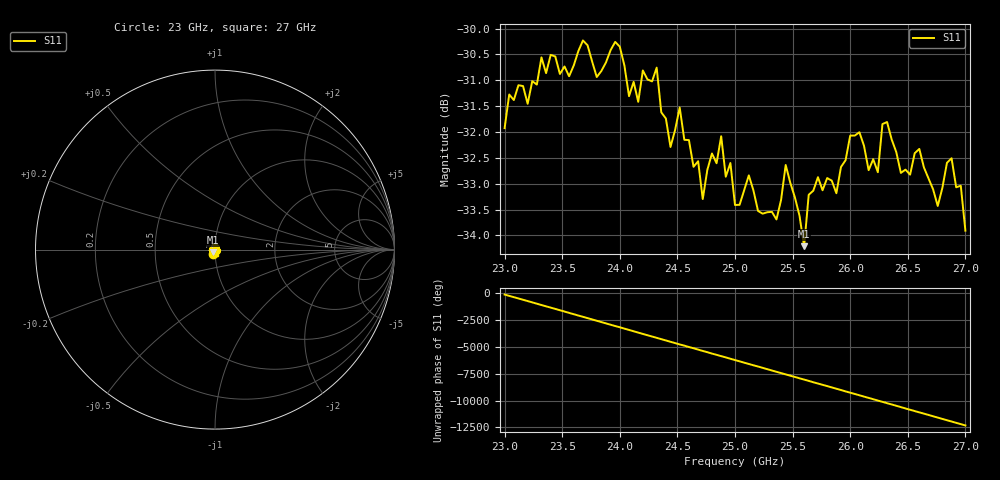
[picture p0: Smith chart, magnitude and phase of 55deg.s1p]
#  HZ  S  RI  R  50.00
! Rohde & Schwarz ZVA40 4Ports - Version 3.90 - 1145.1110k42 SN: 100403
! Date: 2023-09-26 10:56:02
! Measurement: S12
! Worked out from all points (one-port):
!   101 points, 23 GHz to 27 GHz, reference 50 ohm
!   lowest |S11| = -34.2 dB at 25.6 GHz (marker M1), VSWR 1.04, Z = 48.8 - j1.53 ohm
!   |S11| at or under -10 dB: start of sweep to end of sweep
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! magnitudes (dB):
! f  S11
! 23 GHz  -31.9
! 23.04 GHz  -31.3
! 23.2 GHz  -31.5
! 23.32 GHz  -30.6
! 23.52 GHz  -30.7
! 24 GHz  -30.4
! 24.16 GHz  -31.4
! 24.32 GHz  -30.8
! 24.44 GHz  -32.3
! 24.52 GHz  -31.5
! 24.72 GHz  -33.3
! 24.88 GHz  -32.1
! 25 GHz  -33.4
! 25.12 GHz  -32.8
! 25.36 GHz  -33.7
! 25.44 GHz  -32.6
! 25.52 GHz  -33.3
! 25.6 GHz  -34.2
! 25.64 GHz  -33.2
! 25.88 GHz  -33.2
! 26 GHz  -32.1
! 26.24 GHz  -32.8
! 26.32 GHz  -31.8
! 26.52 GHz  -32.8
! 26.6 GHz  -32.3
! 26.76 GHz  -33.4
! 26.88 GHz  -32.5
! 27 GHz  -33.9
